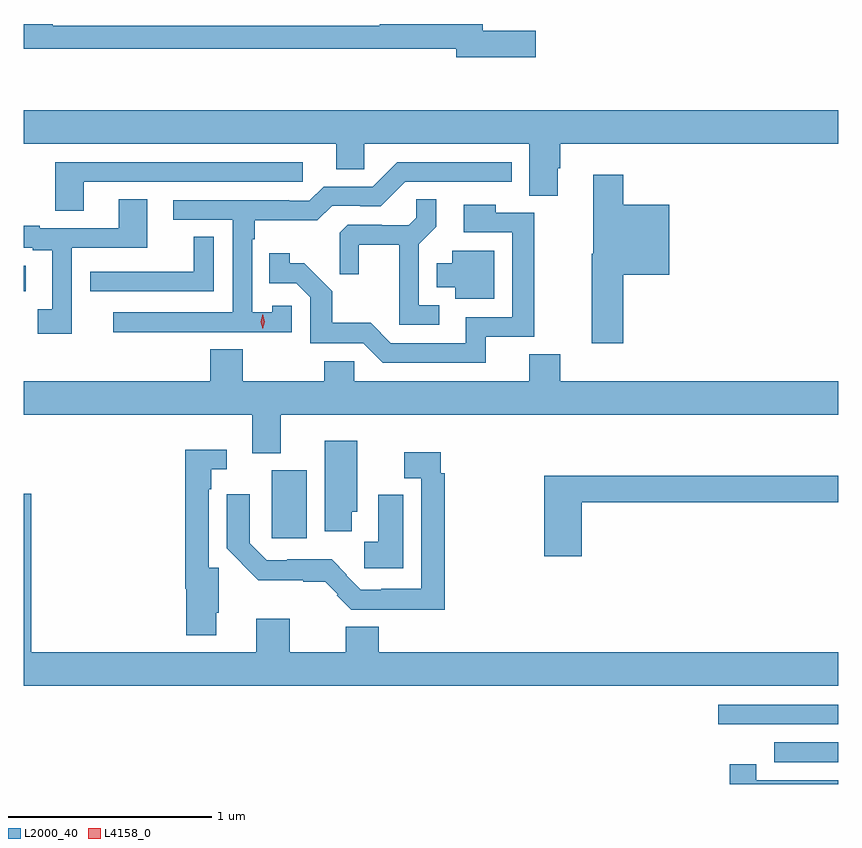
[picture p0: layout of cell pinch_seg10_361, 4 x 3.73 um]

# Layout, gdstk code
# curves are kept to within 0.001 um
import gdstk
lib = gdstk.Library(unit=1e-6, precision=1e-09)
def R(c, l, rs):  # rectangles x0, y0, x1, y1
    for r in rs: c.add(gdstk.rectangle(r[:2], r[2:], *l))
def P(c, l, *ps):  # polygons
    for p in ps: c.add(gdstk.Polygon(p, *l))
L2000_40 = (2000, 40)
L4158_0 = (4158, 0)

pinch_seg10_361 = lib.new_cell('pinch_seg10_361')
R(pinch_seg10_361, L2000_40, [(553.851,1251.99,554.165,1252.086), (553.575,1252.176,554.165,1252.272), (551.384,1253.088,551.554,1253.422), (550.165,1254.303,550.174,1254.427)])
P(pinch_seg10_361, L2000_40, [(552.679,1255.581),(552.418,1255.581),(552.418,1255.615),(551.914,1255.615),(551.914,1255.607),(550.306,1255.607),(550.306,1255.615),(550.165,1255.615),(550.165,1255.494),(552.29,1255.494),(552.29,1255.451),(552.679,1255.451)],
  [(552.787,1254.906),(552.8,1254.906),(552.8,1255.028),(554.165,1255.028),(554.165,1255.192),(550.165,1255.192),(550.165,1255.028),(551.699,1255.028),(551.699,1254.901),(551.838,1254.901),(551.838,1255.028),(552.647,1255.028),(552.647,1254.772),(552.787,1254.772)],
  [(550.459,1254.84),(551.536,1254.84),(551.536,1254.936),(550.319,1254.936),(550.319,1254.697),(550.459,1254.697)],
  [(550.997,1254.102),(551.481,1254.102),(551.481,1254.231),(551.385,1254.231),(551.385,1254.199),(551.286,1254.199),(551.286,1254.557),(551.299,1254.557),(551.299,1254.65),(551.606,1254.65),(551.679,1254.723),(551.818,1254.723),(551.818,1254.72),(551.919,1254.72),(552.039,1254.84),(552.562,1254.84),(552.562,1254.936),(552,1254.936),(551.88,1254.816),(551.637,1254.816),(551.568,1254.747),(551.468,1254.747),(551.468,1254.75),(550.899,1254.75),(550.899,1254.654),(551.19,1254.654),(551.19,1254.198),(550.605,1254.198),(550.605,1254.1),(550.997,1254.1)],
  [(553.109,1254.383),(553.336,1254.383),(553.336,1254.727),(553.109,1254.727),(553.109,1254.874),(552.962,1254.874),(552.962,1254.487),(552.955,1254.487),(552.955,1254.048),(553.109,1254.048)],
  [(552.205,1254.234),(552.105,1254.234),(552.105,1254.533),(552.191,1254.619),(552.191,1254.755),(552.093,1254.755),(552.093,1254.664),(552.056,1254.627),(551.922,1254.627),(551.922,1254.63),(551.757,1254.63),(551.716,1254.589),(551.716,1254.387),(551.81,1254.387),(551.81,1254.53),(552.008,1254.53),(552.008,1254.138),(552.205,1254.138)],
  [(550.401,1254.516),(550.771,1254.516),(550.771,1254.755),(550.631,1254.755),(550.631,1254.612),(550.243,1254.612),(550.243,1254.625),(550.165,1254.625),(550.165,1254.516),(550.208,1254.516),(550.208,1254.504),(550.304,1254.504),(550.304,1254.213),(550.233,1254.213),(550.233,1254.093),(550.401,1254.093)],
  [(552.434,1254.078),(552.673,1254.078),(552.673,1254.687),(552.483,1254.687),(552.483,1254.727),(552.327,1254.727),(552.327,1254.591),(552.564,1254.591),(552.564,1254.174),(552.335,1254.174),(552.335,1254.048),(551.967,1254.048),(551.869,1254.147),(551.68,1254.147),(551.68,1254.302),(551.542,1254.44),(551.472,1254.44),(551.472,1254.49),(551.371,1254.49),(551.371,1254.342),(551.502,1254.342),(551.571,1254.273),(551.571,1254.048),(551.832,1254.048),(551.928,1253.952),(552.434,1253.952)],
  [(551.097,1254.569),(550.999,1254.569),(550.999,1254.399),(550.603,1254.399),(550.603,1254.398),(550.491,1254.398),(550.491,1254.303),(551.097,1254.303)],
  [(552.475,1254.502),(552.269,1254.502),(552.269,1254.439),(552.194,1254.439),(552.194,1254.323),(552.284,1254.323),(552.284,1254.266),(552.475,1254.266)],
  [(551.428,1253.696),(554.165,1253.696),(554.165,1253.86),(552.8,1253.86),(552.8,1253.993),(552.647,1253.993),(552.647,1253.86),(551.787,1253.86),(551.787,1253.958),(551.641,1253.958),(551.641,1253.86),(551.241,1253.86),(551.241,1254.017),(551.081,1254.017),(551.081,1253.86),(550.165,1253.86),(550.165,1253.696),(551.288,1253.696),(551.288,1253.507),(551.428,1253.507)],
  [(551.776,1253.22),(551.803,1253.22),(551.803,1253.569),(551.642,1253.569),(551.642,1253.124),(551.776,1253.124)],
  [(551.11,1252.723),(551.123,1252.723),(551.123,1252.944),(551.073,1252.944),(551.073,1253.33),(551.085,1253.33),(551.085,1253.427),(551.161,1253.427),(551.161,1253.524),(550.957,1253.524),(550.957,1252.841),(550.964,1252.841),(550.964,1252.613),(551.11,1252.613)],
  [(552.233,1253.408),(552.213,1253.408),(552.213,1253.512),(552.034,1253.512),(552.034,1253.384),(552.117,1253.384),(552.117,1252.84),(551.92,1252.84),(551.92,1252.836),(551.82,1252.836),(551.748,1252.908),(551.751,1252.911),(551.677,1252.985),(551.458,1252.985),(551.458,1252.98),(551.358,1252.98),(551.274,1253.064),(551.274,1253.305),(551.162,1253.305),(551.162,1253.04),(551.317,1252.883),(551.537,1252.883),(551.537,1252.875),(551.645,1252.875),(551.707,1252.813),(551.703,1252.809),(551.773,1252.739),(552.233,1252.739)],
  [(552.905,1253.266),(554.165,1253.266),(554.165,1253.395),(552.722,1253.395),(552.722,1253.001),(552.905,1253.001)],
  [(554.165,1252.528),(551.908,1252.528),(551.908,1252.654),(551.747,1252.654),(551.747,1252.528),(551.47,1252.528),(551.47,1252.693),(551.306,1252.693),(551.306,1252.528),(550.202,1252.528),(550.202,1253.308),(550.165,1253.308),(550.165,1252.364),(554.165,1252.364)],
  [(552.028,1253.303),(551.906,1253.303),(551.906,1253.071),(551.838,1253.071),(551.838,1252.942),(552.028,1252.942)],
  [(554.165,1251.901),(554.065,1251.901),(554.065,1251.9),(553.762,1251.9),(553.762,1251.979),(553.632,1251.979),(553.632,1251.882),(554.165,1251.882)])
P(pinch_seg10_361, L4158_0, [(551.338,1254.117),(551.338,1254.118),(551.328,1254.153),(551.338,1254.189),(551.338,1254.189),(551.338,1254.189),(551.348,1254.153),(551.338,1254.118)])

lib.write_gds('pinch_seg10_361.gds')
